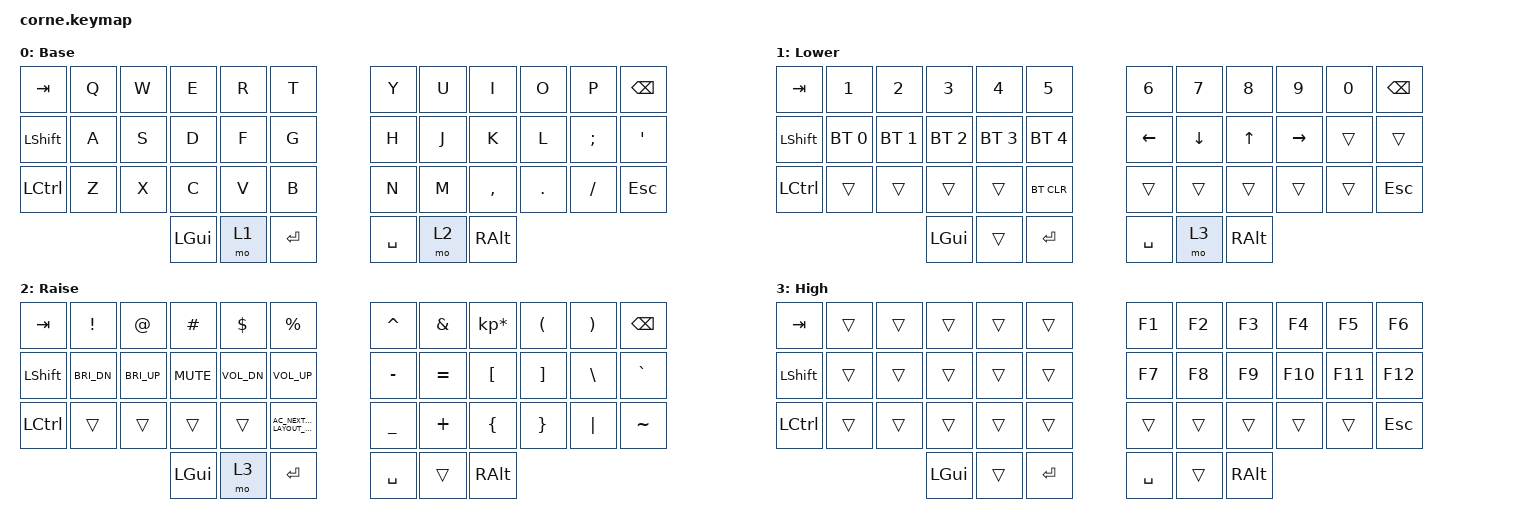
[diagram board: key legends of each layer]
/*
 * Copyright (c) 2020 The ZMK Contributors
 *
 * SPDX-License-Identifier: MIT
 */

#include <behaviors.dtsi>
#include <dt-bindings/zmk/bt.h>
#include <dt-bindings/zmk/keys.h>

/ {
    keymap {
        compatible = "zmk,keymap";

        default_layer {
            // -----------------------------------------------------------------------------------------
            // |  TAB |  Q  |  W  |  E  |  R  |  T  |   |  Y  |  U   |  I  |  O  |  P  | BKSP |
            // | SHFT |  A  |  S  |  D  |  F  |  G  |   |  H  |  J   |  K  |  L  |  ;  |  '   |
            // | CTRL |  Z  |  X  |  C  |  V  |  B  |   |  N  |  M   |  ,  |  .  |  /  | ESC  |
            //                    | GUI | LWR | ENT |   | SPC | RSE  | ALT |

            display-name = "Base";
            bindings = <
&kp TAB    &kp Q  &kp W  &kp E     &kp R  &kp T        &kp Y      &kp U  &kp I      &kp O    &kp P     &kp BSPC
&kp LSHFT  &kp A  &kp S  &kp D     &kp F  &kp G        &kp H      &kp J  &kp K      &kp L    &kp SEMI  &kp SQT
&kp LCTRL  &kp Z  &kp X  &kp C     &kp V  &kp B        &kp N      &kp M  &kp COMMA  &kp DOT  &kp FSLH  &kp ESC
                         &kp LGUI  &mo 1  &kp ENTER    &kp SPACE  &mo 2  &kp RALT
            >;
        };

        lower_layer {
            // -----------------------------------------------------------------------------------------
            // |  TAB |  1  |  2  |  3  |  4  |  5  |   |  6  |  7  |  8  |  9  |  0  | BKSP |
            // | BTCLR| BT1 | BT2 | BT3 | BT4 | BT5 |   | LFT | DWN |  UP | RGT |     |      |
            // | SHFT |     |     |     |     |     |   |     |     |     |     |     |      |
            //                    | GUI |     | ENT |   | SPC |     | ALT |

            display-name = "Lower";
            bindings = <
&kp TAB    &kp N1        &kp N2        &kp N3        &kp N4        &kp N5          &kp N6     &kp N7    &kp N8    &kp N9     &kp N0  &kp BSPC
&kp LSHFT  &bt BT_SEL 0  &bt BT_SEL 1  &bt BT_SEL 2  &bt BT_SEL 3  &bt BT_SEL 4    &kp LEFT   &kp DOWN  &kp UP    &kp RIGHT  &trans  &trans
&kp LCTRL  &trans        &trans        &trans        &trans        &bt BT_CLR      &trans     &trans    &trans    &trans     &trans  &kp ESC
                                       &kp LGUI      &trans        &kp ENTER       &kp SPACE  &mo 3     &kp RALT
            >;
        };

        raise_layer {
            // -----------------------------------------------------------------------------------------
            // |  TAB |  !  |  @  |  #  |  $  |  %  |   |  ^  |  &  |  *  |  (  |  )  | BKSP |
            // | CTRL |     |     |     |     |     |   |  -  |  =  |  [  |  ]  |  \  |  `   |
            // | SHFT |     |     |     |     |     |   |  _  |  +  |  {  |  }  | "|" |  ~   |
            //                    | GUI |     | SPC |   | ENT |     | ALT |

            display-name = "Raise";
            bindings = <
&kp TAB    &kp EXCL      &kp AT        &kp HASH    &kp DLLR      &kp PRCNT                               &kp CARET  &kp AMPS   &kp KP_MULTIPLY  &kp LPAR  &kp RPAR  &kp BSPC
&kp LSHFT  &kp C_BRI_DN  &kp C_BRI_UP  &kp C_MUTE  &kp C_VOL_DN  &kp C_VOL_UP                            &kp MINUS  &kp EQUAL  &kp LBKT         &kp RBKT  &kp BSLH  &kp GRAVE
&kp LCTRL  &trans        &trans        &trans      &trans        &kp C_AC_NEXT_KEYBOARD_LAYOUT_SELECT    &kp UNDER  &kp PLUS   &kp LBRC         &kp RBRC  &kp PIPE  &kp TILDE
                                       &kp LGUI    &mo 3         &kp ENTER                               &kp SPACE  &trans     &kp RALT
            >;
        };

        high_layer {
            // -----------------------------------------------------------------------------------------
            // |  TAB |  !  |  @  |  #  |  $  |  %  |   |  ^  |  &  |  *  |  (  |  )  | BKSP |
            // | CTRL |     |     |     |     |     |   |  -  |  =  |  [  |  ]  |  \  |  `   |
            // | SHFT |     |     |     |     |     |   |  _  |  +  |  {  |  }  | "|" |  ~   |
            //                    | GUI |     | SPC |   | ENT |     | ALT |

            display-name = "High";
            bindings = <
&kp TAB    &trans  &trans  &trans    &trans  &trans       &kp F1     &kp F2  &kp F3    &kp F4   &kp F5   &kp F6
&kp LSHFT  &trans  &trans  &trans    &trans  &trans       &kp F7     &kp F8  &kp F9    &kp F10  &kp F11  &kp F12
&kp LCTRL  &trans  &trans  &trans    &trans  &trans       &trans     &trans  &trans    &trans   &trans   &kp ESC
                           &kp LGUI  &trans  &kp ENTER    &kp SPACE  &trans  &kp RALT
            >;
        };
    };
};
